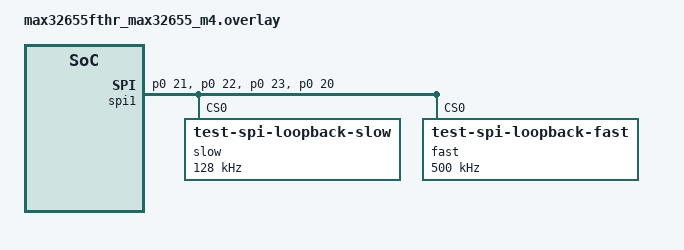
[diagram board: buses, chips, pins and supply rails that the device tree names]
/*
 * Copyright (c) 2023-2024 Analog Devices, Inc.
 *
 * SPDX-License-Identifier: Apache-2.0
 */

&spi1 {
	status = "okay";
	pinctrl-0 = <&spi1_mosi_p0_21 &spi1_miso_p0_22 &spi1_sck_p0_23 &spi1_ss0_p0_20>;
	pinctrl-names = "default";

	slow@0 {
		compatible = "test-spi-loopback-slow";
		reg = <0>;
		spi-max-frequency = <128000>;
	};
	fast@0 {
		compatible = "test-spi-loopback-fast";
		reg = <0>;
		spi-max-frequency = <500000>;
	};
};
